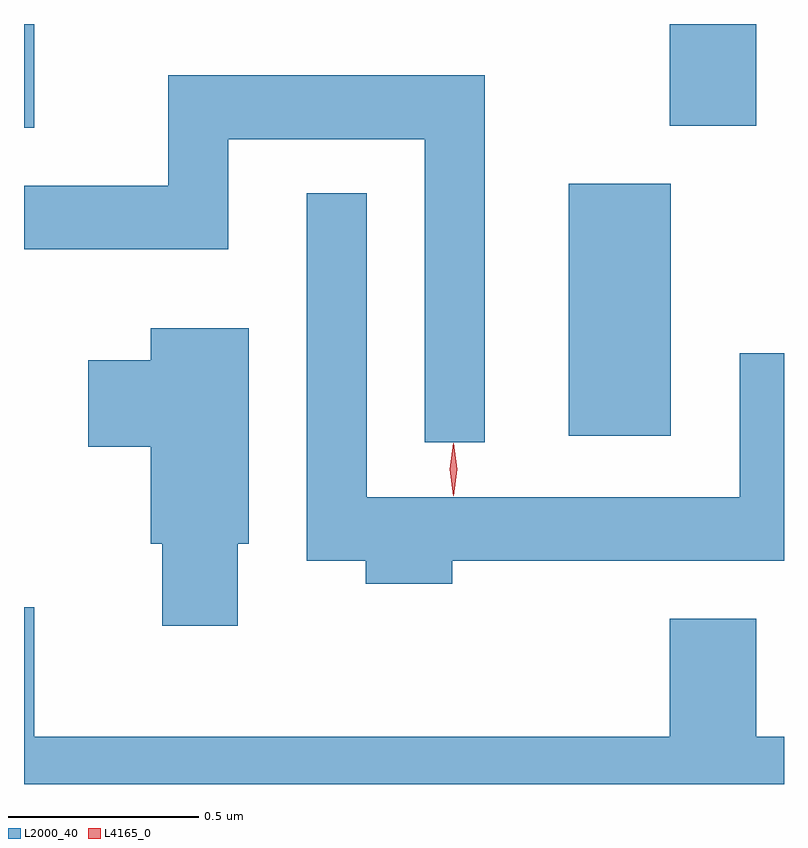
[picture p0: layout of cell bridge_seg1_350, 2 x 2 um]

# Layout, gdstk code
import gdstk
lib = gdstk.Library(unit=1e-6, precision=1e-09)
def R(c, l, rs):  # rectangles x0, y0, x1, y1
    for r in rs: c.add(gdstk.rectangle(r[:2], r[2:], *l))
def P(c, l, *ps):  # polygons
    for p in ps: c.add(gdstk.Polygon(p, *l))
L2000_40 = (2000, 40)
L4165_0 = (4165, 0)

bridge_seg1_350 = lib.new_cell('bridge_seg1_350')
R(bridge_seg1_350, L2000_40, [(914.556,882.876,914.824,883.539), (913.122,883.686,913.149,883.959), (914.821,883.691,915.049,883.959)])
P(bridge_seg1_350, L2000_40, [(914.334,883.824),(913.501,883.824),(913.501,883.534),(913.122,883.534),(913.122,883.366),(913.659,883.366),(913.659,883.656),(914.176,883.656),(914.176,882.858),(914.334,882.858)],
  [(914.249,882.546),(915.122,882.546),(915.122,883.093),(915.006,883.093),(915.006,882.714),(914.024,882.714),(914.024,883.513),(913.866,883.513),(913.866,882.546),(914.021,882.546),(914.021,882.486),(914.249,882.486)],
  [(913.684,882.591),(913.714,882.591),(913.714,883.159),(913.456,883.159),(913.456,883.074),(913.291,883.074),(913.291,882.846),(913.456,882.846),(913.456,882.591),(913.486,882.591),(913.486,882.376),(913.684,882.376)],
  [(915.122,882.084),(915.049,882.084),(915.049,882.394),(914.821,882.394),(914.821,882.084),(913.149,882.084),(913.149,882.424),(913.122,882.424),(913.122,881.959),(915.122,881.959)])
P(bridge_seg1_350, L4165_0, [(914.252,882.717),(914.252,882.717),(914.242,882.787),(914.252,882.856),(914.252,882.856),(914.253,882.856),(914.262,882.787),(914.253,882.717)])

lib.write_gds('bridge_seg1_350.gds')
